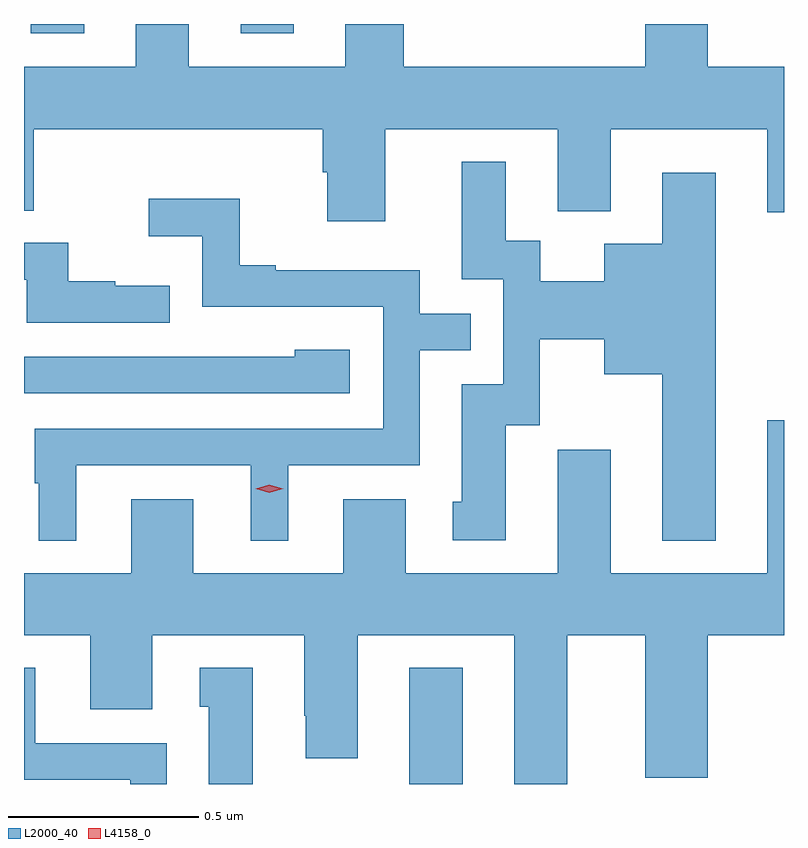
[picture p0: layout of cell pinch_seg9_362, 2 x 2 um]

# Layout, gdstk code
import gdstk
lib = gdstk.Library(unit=1e-6, precision=1e-09)
def R(c, l, rs):  # rectangles x0, y0, x1, y1
    for r in rs: c.add(gdstk.rectangle(r[:2], r[2:], *l))
def P(c, l, *ps):  # polygons
    for p in ps: c.add(gdstk.Polygon(p, *l))
L2000_40 = (2000, 40)
L4158_0 = (4158, 0)

pinch_seg9_362 = lib.new_cell('pinch_seg9_362')
R(pinch_seg9_362, L2000_40, [(583.967,1190.701,584.107,1191.007), (582.971,1192.677,583.111,1192.701), (583.523,1192.677,583.663,1192.701)])
P(pinch_seg9_362, L2000_40, [(583.903,1192.424),(584.357,1192.424),(584.357,1192.208),(584.497,1192.208),(584.497,1192.424),(584.909,1192.424),(584.909,1192.206),(584.953,1192.206),(584.953,1192.588),(584.752,1192.588),(584.752,1192.701),(584.588,1192.701),(584.588,1192.588),(583.952,1192.588),(583.952,1192.701),(583.799,1192.701),(583.799,1192.588),(583.387,1192.588),(583.387,1192.701),(583.247,1192.701),(583.247,1192.588),(582.953,1192.588),(582.953,1192.21),(582.979,1192.21),(582.979,1192.424),(583.739,1192.424),(583.739,1192.311),(583.751,1192.311),(583.751,1192.182),(583.903,1192.182)],
  [(584.773,1192.309),(584.633,1192.309),(584.633,1192.123),(584.48,1192.123),(584.48,1192.024),(584.311,1192.024),(584.311,1192.13),(584.221,1192.13),(584.221,1192.339),(584.105,1192.339),(584.105,1192.029),(584.214,1192.029),(584.214,1191.753),(584.105,1191.753),(584.105,1191.444),(584.081,1191.444),(584.081,1191.342),(584.221,1191.342),(584.221,1191.645),(584.31,1191.645),(584.31,1191.872),(584.48,1191.872),(584.48,1191.779),(584.633,1191.779),(584.633,1191.341),(584.773,1191.341)],
  [(583.09,1191.54),(583.55,1191.54),(583.55,1191.341),(583.648,1191.341),(583.648,1191.54),(583.995,1191.54),(583.995,1191.843),(584.129,1191.843),(584.129,1191.939),(583.995,1191.939),(583.995,1192.053),(583.615,1192.053),(583.615,1192.066),(583.521,1192.066),(583.521,1192.241),(583.281,1192.241),(583.281,1192.142),(583.422,1192.142),(583.422,1191.957),(583.899,1191.957),(583.899,1191.636),(582.981,1191.636),(582.981,1191.492),(582.992,1191.492),(582.992,1191.341),(583.09,1191.341)],
  [(583.337,1192.012),(583.193,1192.012),(583.193,1192.024),(583.07,1192.024),(583.07,1192.125),(582.953,1192.125),(582.953,1192.028),(582.96,1192.028),(582.96,1191.915),(583.337,1191.915)],
  [(583.81,1191.844),(583.665,1191.844),(583.665,1191.826),(583.429,1191.826),(583.429,1191.825),(582.953,1191.825),(582.953,1191.729),(583.81,1191.729)],
  [(584.383,1191.092),(584.588,1191.092),(584.588,1190.718),(584.752,1190.718),(584.752,1191.092),(584.953,1191.092),(584.953,1191.658),(584.909,1191.658),(584.909,1191.256),(584.497,1191.256),(584.497,1191.58),(584.358,1191.58),(584.358,1191.467),(584.357,1191.467),(584.357,1191.256),(583.957,1191.256),(583.957,1191.451),(583.793,1191.451),(583.793,1191.256),(583.399,1191.256),(583.399,1191.451),(583.235,1191.451),(583.235,1191.256),(582.953,1191.256),(582.953,1191.092),(583.127,1191.092),(583.127,1190.898),(583.291,1190.898),(583.291,1191.092),(583.691,1191.092),(583.691,1190.881),(583.694,1190.881),(583.694,1190.769),(583.831,1190.769),(583.831,1191.092),(584.243,1191.092),(584.243,1190.701),(584.383,1190.701)],
  [(583.555,1191.007),(583.415,1191.007),(583.415,1190.904),(583.439,1190.904),(583.439,1190.701),(583.555,1190.701)],
  [(583.329,1190.808),(582.982,1190.808),(582.982,1191.007),(582.953,1191.007),(582.953,1190.712),(583.233,1190.712),(583.233,1190.701),(583.329,1190.701)])
P(pinch_seg9_362, L4158_0, [(583.599,1191.468),(583.563,1191.478),(583.563,1191.478),(583.563,1191.478),(583.599,1191.488),(583.635,1191.478),(583.635,1191.478),(583.635,1191.478)])

lib.write_gds('pinch_seg9_362.gds')
